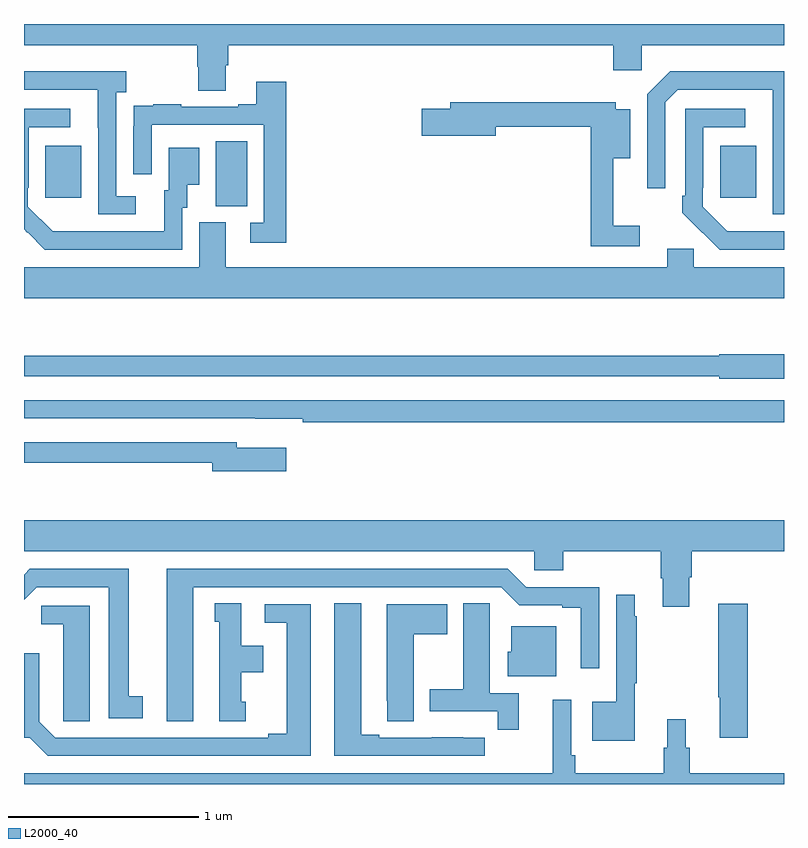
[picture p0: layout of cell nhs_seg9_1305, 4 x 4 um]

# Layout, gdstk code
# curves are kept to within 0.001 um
import gdstk
lib = gdstk.Library(unit=1e-6, precision=1e-09)
def R(c, l, rs):  # rectangles x0, y0, x1, y1
    for r in rs: c.add(gdstk.rectangle(r[:2], r[2:], *l))
def P(c, l, *ps):  # polygons
    for p in ps: c.add(gdstk.Polygon(p, *l))
L2000_40 = (2000, 40)

nhs_seg9_1305 = lib.new_cell('nhs_seg9_1305')
R(nhs_seg9_1305, L2000_40, [(184.01,1227.541,184.174,1227.884), (183.113,1227.585,183.301,1227.859), (186.665,1227.585,186.853,1227.859)])
P(nhs_seg9_1305, L2000_40, [(183,1228.388),(183.911,1228.388),(183.911,1228.275),(183.916,1228.275),(183.916,1228.15),(184.063,1228.15),(184.063,1228.282),(184.076,1228.282),(184.076,1228.388),(186.101,1228.388),(186.101,1228.257),(186.252,1228.257),(186.252,1228.388),(187,1228.388),(187,1228.5),(183,1228.5)],
  [(183.589,1227.594),(183.486,1227.594),(183.486,1228.142),(183.538,1228.142),(183.538,1228.252),(183,1228.252),(183,1228.155),(183.389,1228.155),(183.389,1227.955),(183.39,1227.955),(183.39,1227.498),(183.589,1227.498)],
  [(187,1228.252),(186.4,1228.252),(186.279,1228.131),(186.279,1227.636),(186.375,1227.636),(186.375,1228.089),(186.441,1228.155),(186.941,1228.155),(186.941,1227.955),(186.942,1227.955),(186.942,1227.498),(187,1227.498)],
  [(184.379,1228.195),(184.223,1228.195),(184.223,1228.078),(184.127,1228.078),(184.127,1228.065),(183.827,1228.065),(183.827,1228.078),(183.679,1228.078),(183.679,1228.071),(183.577,1228.071),(183.577,1227.962),(183.576,1227.962),(183.576,1227.708),(183.672,1227.708),(183.672,1227.969),(184.263,1227.969),(184.263,1227.453),(184.191,1227.453),(184.191,1227.348),(184.379,1227.348)],
  [(186.241,1227.439),(186.101,1227.439),(186.101,1227.794),(186.19,1227.794),(186.19,1228.051),(186.114,1228.051),(186.114,1228.087),(185.243,1228.087),(185.243,1228.053),(185.094,1228.053),(185.094,1227.911),(185.482,1227.911),(185.482,1227.958),(185.983,1227.958),(185.983,1227.33),(186.241,1227.33)],
  [(187,1227.408),(186.702,1227.409),(186.573,1227.537),(186.573,1227.637),(186.576,1227.637),(186.576,1227.957),(186.796,1227.957),(186.796,1228.053),(186.48,1228.053),(186.48,1227.595),(186.465,1227.595),(186.465,1227.507),(186.662,1227.312),(187,1227.312)],
  [(183.834,1227.534),(183.859,1227.534),(183.859,1227.653),(183.922,1227.653),(183.922,1227.85),(183.761,1227.85),(183.761,1227.624),(183.737,1227.624),(183.737,1227.408),(183.15,1227.409),(183.021,1227.537),(183.021,1227.637),(183.024,1227.637),(183.024,1227.957),(183.244,1227.957),(183.244,1228.053),(183,1228.053),(183,1227.42),(183.018,1227.402),(183.019,1227.403),(183.11,1227.312),(183.834,1227.312)],
  [(187,1227.22),(186.525,1227.22),(186.525,1227.318),(186.386,1227.318),(186.386,1227.22),(184.063,1227.22),(184.063,1227.456),(183.923,1227.456),(183.923,1227.22),(183,1227.22),(183,1227.056),(187,1227.056)],
  [(187,1226.763),(186.66,1226.763),(186.66,1226.755),(183,1226.755),(183,1226.646),(186.66,1226.646),(186.66,1226.633),(187,1226.633)],
  [(187,1226.52),(183,1226.52),(183,1226.424),(184.216,1226.424),(184.216,1226.423),(184.468,1226.423),(184.468,1226.404),(187,1226.404)],
  [(184.381,1226.269),(184.12,1226.269),(184.12,1226.298),(183,1226.298),(183,1226.19),(183.992,1226.19),(183.992,1226.147),(184.381,1226.147)],
  [(186.502,1225.587),(186.515,1225.587),(186.515,1225.724),(187,1225.724),(187,1225.888),(183,1225.888),(183,1225.724),(185.685,1225.724),(185.685,1225.626),(185.837,1225.626),(185.837,1225.724),(186.35,1225.724),(186.35,1225.582),(186.362,1225.582),(186.362,1225.434),(186.502,1225.434)],
  [(183.892,1225.536),(185.511,1225.536),(185.607,1225.44),(185.834,1225.44),(185.834,1225.428),(185.93,1225.428),(185.93,1225.11),(186.027,1225.11),(186.027,1225.536),(185.643,1225.536),(185.547,1225.632),(183.752,1225.632),(183.752,1224.831),(183.892,1224.831)],
  [(183.625,1224.962),(183.55,1224.962),(183.55,1225.632),(183.03,1225.632),(183,1225.602),(183,1225.47),(183.066,1225.536),(183.446,1225.536),(183.446,1224.846),(183.625,1224.846)],
  [(186.214,1225.03),(186.226,1225.03),(186.226,1225.382),(186.214,1225.382),(186.214,1225.495),(186.117,1225.495),(186.117,1224.934),(185.99,1224.934),(185.99,1224.728),(186.214,1224.728)],
  [(185.603,1224.978),(185.452,1224.978),(185.452,1225.34),(185.451,1225.34),(185.451,1225.451),(185.312,1225.451),(185.312,1224.999),(185.135,1224.999),(185.135,1224.882),(185.494,1224.882),(185.494,1224.786),(185.603,1224.786)],
  [(185.425,1224.744),(185.312,1224.744),(185.312,1224.745),(185.146,1224.745),(185.146,1224.744),(184.87,1224.744),(184.87,1224.759),(184.774,1224.759),(184.774,1225.451),(184.634,1225.451),(184.634,1224.648),(185.425,1224.648)],
  [(184.168,1224.933),(184.144,1224.933),(184.144,1225.088),(184.258,1225.088),(184.258,1225.228),(184.144,1225.228),(184.144,1225.451),(184.004,1225.451),(184.004,1225.353),(184.028,1225.353),(184.028,1224.831),(184.168,1224.831)],
  [(186.809,1225.45),(186.655,1225.45),(186.655,1224.956),(186.662,1224.956),(186.662,1224.744),(186.809,1224.744)],
  [(185.05,1225.288),(185.227,1225.288),(185.227,1225.447),(184.91,1225.447),(184.91,1224.937),(184.911,1224.937),(184.911,1224.829),(185.05,1224.829)],
  [(184.51,1225.446),(184.266,1225.446),(184.266,1225.35),(184.382,1225.35),(184.382,1224.764),(184.286,1224.764),(184.286,1224.744),(183.165,1224.744),(183.081,1224.828),(183.081,1225.189),(183,1225.189),(183,1224.744),(183.029,1224.744),(183.125,1224.648),(184.51,1224.648)],
  [(183.346,1225.437),(183.09,1225.437),(183.09,1225.34),(183.206,1225.34),(183.206,1224.937),(183.207,1224.937),(183.207,1224.829),(183.346,1224.829)],
  [(185.8,1225.33),(185.564,1225.33),(185.564,1225.197),(185.546,1225.197),(185.546,1225.067),(185.8,1225.067)],
  [(187,1224.556),(186.503,1224.556),(186.503,1224.69),(186.484,1224.69),(186.484,1224.841),(186.386,1224.841),(186.386,1224.69),(186.367,1224.69),(186.367,1224.556),(185.9,1224.556),(185.9,1224.652),(185.88,1224.652),(185.88,1224.943),(185.783,1224.943),(185.783,1224.556),(183,1224.556),(183,1224.5),(187,1224.5)])

lib.write_gds('nhs_seg9_1305.gds')
